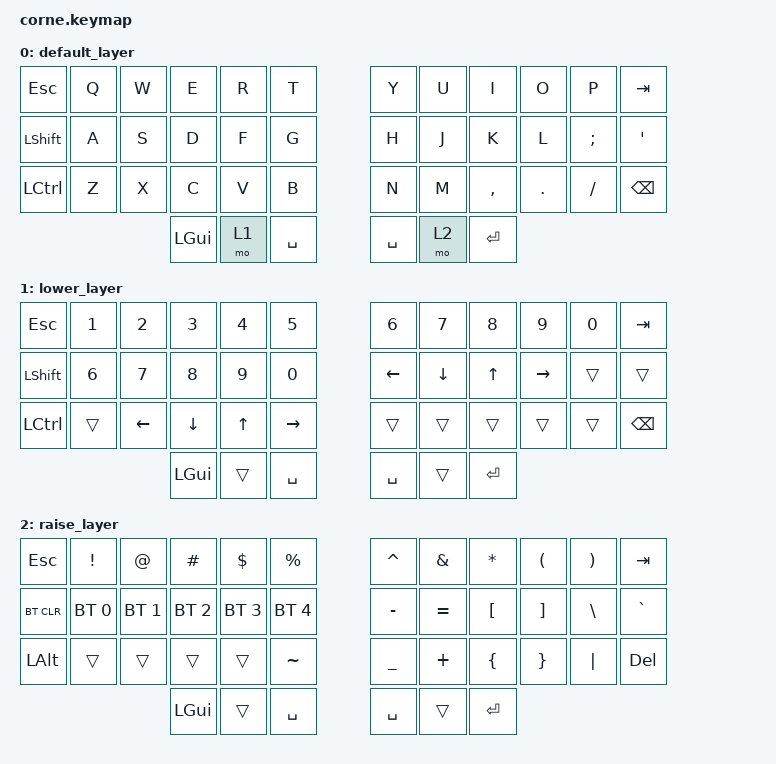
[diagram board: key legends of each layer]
/*
 * Copyright (c) 2020 The ZMK Contributors
 *
 * SPDX-License-Identifier: MIT
 */

#include <behaviors.dtsi>
#include <dt-bindings/zmk/keys.h>
#include <dt-bindings/zmk/bt.h>

/ {
        keymap {
                compatible = "zmk,keymap";

                default_layer {
// -----------------------------------------------------------------------------------------
// |  ESC |  Q  |  W  |  E  |  R  |  T  |   |  Y  |  U   |  I  |  O  |  P  | BSPC |
// | CTRL |  A  |  S  |  D  |  F  |  G  |   |  H  |  J   |  K  |  L  |  ;  |  '   |
// | SHFT |  Z  |  X  |  C  |  V  |  B  |   |  N  |  M   |  ,  |  .  |  /  | ESC  |
//                    | GUI | LWR | SPC |   | ENT | RSE  | ALT |
                        bindings = <
   &kp ESC   &kp Q &kp W &kp E &kp R &kp T   &kp Y &kp U  &kp I     &kp O   &kp P    &kp TAB
   &kp LSHFT &kp A &kp S &kp D &kp F &kp G   &kp H &kp J  &kp K     &kp L   &kp SEMI &kp SQT
   &kp LCTRL &kp Z &kp X &kp C &kp V &kp B   &kp N &kp M  &kp COMMA &kp DOT &kp FSLH &kp BSPC
                  &kp LGUI &mo 1 &kp SPACE   &kp SPACE &mo 2 &kp RET
                        >;
                };
                lower_layer {
// -----------------------------------------------------------------------------------------
// |  TAB |  1  |  2  |  3  |  4  |  5  |   |  6  |  7  |  8  |  9  |  0  | BSPC |
// | BTCLR| BT1 | BT2 | BT3 | BT4 | BT5 |   | LFT | DWN |  UP | RGT |     |      |
// | SHFT |     |     |     |     |     |   |     |     |     |     |     |      |
//                    | GUI |     | SPC |   | ENT |     | ALT |
                        bindings = <
   &kp ESC    &kp N1       &kp N2       &kp N3       &kp N4       &kp N5         &kp N6   &kp N7   &kp N8 &kp N9    &kp N0 &kp TAB
   &kp LSHFT  &kp N6       &kp N7       &kp N8       &kp N9       &kp N0         &kp LEFT &kp DOWN &kp UP &kp RIGHT &trans &trans
   &kp LCTRL  &trans       &kp LEFT     &kp DOWN     &kp UP       &kp RIGHT      &trans   &trans   &trans &trans    &trans &kp BSPC
                                    &kp LGUI     &trans       &kp SPACE      &kp SPACE  &trans   &kp RET
                        >;
                };

                raise_layer {
// -----------------------------------------------------------------------------------------
// |  TAB |  !  |  @  |  #  |  $  |  %  |   |  ^  |  &  |  *  |  (  |  )  | BSPC |
// | CTRL |     |     |     |     |     |   |  -  |  =  |  [  |  ]  |  \  |  `   |
// | SHFT |     |     |     |     |     |   |  _  |  +  |  {  |  }  | "|" |  ~   |
//   LALT             | GUI |     | SPC |   | ENT |     | ALT |
                        bindings = <
   &kp  ESC  &kp EXCL &kp AT &kp HASH &kp DLLR &kp PRCNT   &kp CARET &kp AMPS  &kp ASTRK &kp LPAR &kp RPAR &kp TAB
   &bt BT_CLR &bt BT_SEL 0 &bt BT_SEL 1 &bt BT_SEL 2 &bt BT_SEL 3 &bt BT_SEL 4      &kp MINUS &kp EQUAL &kp LBKT  &kp RBKT &kp BSLH &kp GRAVE
   &kp LALT &trans   &trans &trans   &trans   &kp TILDE      &kp UNDER &kp PLUS  &kp LBRC  &kp RBRC &kp PIPE &kp DEL
                             &kp LGUI &trans   &kp SPACE   &kp SPACE   &trans    &kp RET
                        >;
                };
        };
};
